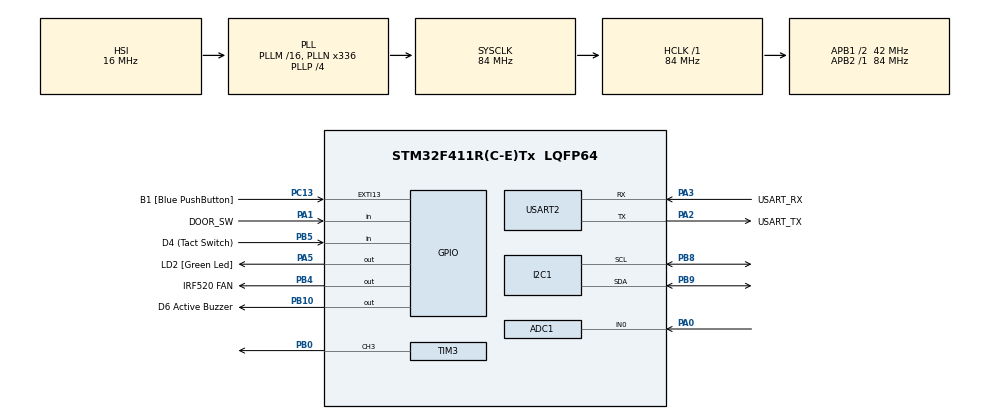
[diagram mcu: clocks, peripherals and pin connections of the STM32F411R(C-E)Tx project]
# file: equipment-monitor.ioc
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ADC1.Channel-2\#ChannelRegularConversion=ADC_CHANNEL_0
ADC1.NbrOfConversionFlag=1
ADC1.Rank-2\#ChannelRegularConversion=1
ADC1.SamplingTime-2\#ChannelRegularConversion=ADC_SAMPLETIME_3CYCLES
ADC1.master=1
FREERTOS.Tasks01=TaskWatchdog,48,256,StartTaskWatchdog,Default,NULL,Dynamic,NULL,NULL;TaskComm,40,512,StartTaskComm,Default,NULL,Dynamic,NULL,NULL;TaskButton,40,128,StartTaskButton,Default,NULL,Dynamic,NULL,NULL;TaskSensor,24,256,StartTaskSensor,Default,NULL,Dynamic,NULL,NULL;TaskActuator,24,256,StartTaskActuator,Default,NULL,Dynamic,NULL,NULL;TaskHeartbeat,8,128,StartTaskHeartbeat,Default,NULL,Dynamic,NULL,NULL
FREERTOS.configUSE_NEWLIB_REENTRANT=1
Mcu.Family=STM32F4
Mcu.Name=STM32F411R(C-E)Tx
Mcu.Package=LQFP64
NVIC.EXTI15_10_IRQn=true\:5\:0\:false\:false\:true\:true\:true\:true\:true
NVIC.PriorityGroup=NVIC_PRIORITYGROUP_4
NVIC.TIM1_TRG_COM_TIM11_IRQn=true\:15\:0\:false\:false\:true\:false\:false\:true\:true
NVIC.TimeBase=TIM1_TRG_COM_TIM11_IRQn
NVIC.TimeBaseIP=TIM11
NVIC.USART2_IRQn=true\:5\:0\:false\:false\:true\:true\:true\:true\:true
PA0-WKUP.Signal=ADCx_IN0
PA1.GPIO_Label=DOOR_SW
PA1.GPIO_PuPd=GPIO_PULLUP
PA1.Signal=GPIO_Input
PA13.GPIO_Label=TMS
PA13.Mode=Serial_Wire
PA13.Signal=SYS_JTMS-SWDIO
PA14.GPIO_Label=TCK
PA14.Mode=Serial_Wire
PA14.Signal=SYS_JTCK-SWCLK
PA2.GPIO_Label=USART_TX
PA2.Mode=Asynchronous
PA2.Signal=USART2_TX
PA3.GPIO_Label=USART_RX
PA3.Mode=Asynchronous
PA3.Signal=USART2_RX
PA5.GPIO_Label=LD2 [Green Led]
PA5.Signal=GPIO_Output
PB0.Signal=S_TIM3_CH3
PB10.GPIO_Label=D6 Active Buzzer
PB10.Signal=GPIO_Output
PB3.GPIO_Label=SWO
PB3.Signal=SYS_JTDO-SWO
PB4.GPIO_Label=IRF520 FAN
PB4.GPIO_PuPd=GPIO_NOPULL
PB4.Signal=GPIO_Output
PB5.GPIO_Label=D4 (Tact Switch)
PB5.GPIO_PuPd=GPIO_PULLUP
PB5.Signal=GPIO_Input
PB8.Mode=I2C
PB8.Signal=I2C1_SCL
PB9.Mode=I2C
PB9.Signal=I2C1_SDA
PC13-ANTI_TAMP.GPIO_Label=B1 [Blue PushButton]
PC13-ANTI_TAMP.GPIO_ModeDefaultEXTI=GPIO_MODE_IT_FALLING
PC13-ANTI_TAMP.Signal=GPXTI13
PC14-OSC32_IN.Mode=LSE-External-Oscillator
PC14-OSC32_IN.Signal=RCC_OSC32_IN
PC15-OSC32_OUT.Mode=LSE-External-Oscillator
PC15-OSC32_OUT.Signal=RCC_OSC32_OUT
PH0\ -\ OSC_IN.Mode=HSE-External-Clock-Source
PH0\ -\ OSC_IN.Signal=RCC_OSC_IN
PH1\ -\ OSC_OUT.Mode=HSE-External-Clock-Source
PH1\ -\ OSC_OUT.Signal=RCC_OSC_OUT
ProjectManager.HeapSize=0x200
ProjectManager.StackSize=0x400
ProjectManager.TargetToolchain=STM32CubeIDE
RCC.48MHZClocksFreq_Value=84000000
RCC.AHBFreq_Value=84000000
RCC.APB1CLKDivider=RCC_HCLK_DIV2
RCC.APB1Freq_Value=42000000
RCC.APB1TimFreq_Value=84000000
RCC.APB2Freq_Value=84000000
RCC.APB2TimFreq_Value=84000000
RCC.CortexFreq_Value=84000000
RCC.FLatency-AdvancedSettings=FLASH_LATENCY_2
RCC.HCLKFreq_Value=84000000
RCC.HSE_VALUE=8000000
RCC.HSI_VALUE=16000000
RCC.PLLN=336
RCC.PLLP=RCC_PLLP_DIV4
RCC.SYSCLKFreq_VALUE=84000000
RCC.SYSCLKSource=RCC_SYSCLKSOURCE_PLLCLK
RCC.VCOOutputFreq_Value=336000000
SH.ADCx_IN0.0=ADC1_IN0,IN0
SH.S_TIM3_CH3.0=TIM3_CH3,PWM Generation3 CH3
TIM3.Channel-PWM\ Generation3\ CH3=TIM_CHANNEL_3
TIM3.Period=999
TIM3.Prescaler=83
USART2.VirtualMode=VM_ASYNC
VP_FREERTOS_VS_CMSIS_V2.Mode=CMSIS_V2
VP_IWDG_VS_IWDG.Mode=IWDG_Activate
VP_SYS_VS_tim11.Mode=TIM11
VP_TIM3_VS_ClockSourceINT.Mode=Internal
board=NUCLEO-F411RE

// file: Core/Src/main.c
/* USER CODE BEGIN Header */
/**
  ******************************************************************************
  * @file           : main.c
  * @brief          : Main program body
  ******************************************************************************
  * @attention
  *
  * Copyright (c) 2026 STMicroelectronics.
  * All rights reserved.
  *
  * This software is licensed under terms that can be found in the LICENSE file
  * in the root directory of this software component.
  * If no LICENSE file comes with this software, it is provided AS-IS.
  *
  ******************************************************************************
  */
/* USER CODE END Header */
#include "main.h"
#include "cmsis_os.h"
#include "adc.h"
#include "i2c.h"
#include "iwdg.h"
#include "tim.h"
#include "usart.h"
#include "gpio.h"

/* USER CODE BEGIN Includes */
#include "test_periph.h"
/* USER CODE END Includes */

void SystemClock_Config(void);
void MX_FREERTOS_Init(void);

int main(void)
{

  /* MCU Configuration--------------------------------------------------------*/

  /* Reset of all peripherals, Initializes the Flash interface and the Systick. */
  HAL_Init();

  /* Configure the system clock */
  SystemClock_Config();

  /* USER CODE BEGIN SysInit */
  /* ITM 수동 초기화 — SWV 출력용 */
  CoreDebug->DEMCR |= CoreDebug_DEMCR_TRCENA_Msk;
  ITM->LAR  = 0xC5ACCE55UL;
  ITM->TCR  = 0x0001000DUL;
  ITM->TPR  = 0xFFFFFFFFUL;
  ITM->TER  = 0x00000001UL;
  /* ITM 동작 확인용 — 콘솔에 "BOOT\r\n" 이 보이면 SWV 정상 */
  const char *msg = "BOOT\r\n";
  for (int i = 0; msg[i]; i++) ITM_SendChar((uint32_t)msg[i]);
  /* USER CODE END SysInit */

  /* Initialize all configured peripherals */
  MX_GPIO_Init();
  MX_USART2_UART_Init();
  MX_IWDG_Init();
  MX_ADC1_Init();
  MX_I2C1_Init();
  MX_TIM3_Init();
  /* USER CODE BEGIN 2 */
#ifdef TEST_MODE
  test_periph_run();
  for (;;);   /* 테스트 완료 후 정지 — FreeRTOS 진입 안 함 */
#endif
  /* USER CODE END 2 */

  /* Init scheduler */
  osKernelInitialize();  /* Call init function for freertos objects (in cmsis_os2.c) */
  MX_FREERTOS_Init();

  /* Start scheduler */
  osKernelStart();

  /* We should never get here as control is now taken by the scheduler */

  /* Infinite loop */
  while (1)
  {

  }
}

void SystemClock_Config(void)
{
  RCC_OscInitTypeDef RCC_OscInitStruct = {0};
  RCC_ClkInitTypeDef RCC_ClkInitStruct = {0};

  /** Configure the main internal regulator output voltage
  */
  __HAL_RCC_PWR_CLK_ENABLE();
  __HAL_PWR_VOLTAGESCALING_CONFIG(PWR_REGULATOR_VOLTAGE_SCALE1);

  /** Initializes the RCC Oscillators according to the specified parameters
  * in the RCC_OscInitTypeDef structure.
  */
  RCC_OscInitStruct.OscillatorType = RCC_OSCILLATORTYPE_HSI|RCC_OSCILLATORTYPE_LSI;
  RCC_OscInitStruct.HSIState = RCC_HSI_ON;
  RCC_OscInitStruct.HSICalibrationValue = RCC_HSICALIBRATION_DEFAULT;
  RCC_OscInitStruct.LSIState = RCC_LSI_ON;
  RCC_OscInitStruct.PLL.PLLState = RCC_PLL_ON;
  RCC_OscInitStruct.PLL.PLLSource = RCC_PLLSOURCE_HSI;
  RCC_OscInitStruct.PLL.PLLM = 16;
  RCC_OscInitStruct.PLL.PLLN = 336;
  RCC_OscInitStruct.PLL.PLLP = RCC_PLLP_DIV4;
  RCC_OscInitStruct.PLL.PLLQ = 4;
  if (HAL_RCC_OscConfig(&RCC_OscInitStruct) != HAL_OK)
  {
    Error_Handler();
  }

  /** Initializes the CPU, AHB and APB buses clocks
  */
  RCC_ClkInitStruct.ClockType = RCC_CLOCKTYPE_HCLK|RCC_CLOCKTYPE_SYSCLK
                              |RCC_CLOCKTYPE_PCLK1|RCC_CLOCKTYPE_PCLK2;
  RCC_ClkInitStruct.SYSCLKSource = RCC_SYSCLKSOURCE_PLLCLK;
  RCC_ClkInitStruct.AHBCLKDivider = RCC_SYSCLK_DIV1;
  RCC_ClkInitStruct.APB1CLKDivider = RCC_HCLK_DIV2;
  RCC_ClkInitStruct.APB2CLKDivider = RCC_HCLK_DIV1;

  if (HAL_RCC_ClockConfig(&RCC_ClkInitStruct, FLASH_LATENCY_2) != HAL_OK)
  {
    Error_Handler();
  }
}

void HAL_TIM_PeriodElapsedCallback(TIM_HandleTypeDef *htim)
{
  if (htim->Instance == TIM11)
  {
    HAL_IncTick();
  }
}

void Error_Handler(void)
{
  __disable_irq();
  while (1)
  {
  }
}

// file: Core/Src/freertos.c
/* USER CODE BEGIN Header */
/**
  ******************************************************************************
  * File Name          : freertos.c
  * Description        : FreeRTOS 태스크 및 동기화 객체 구현
  ******************************************************************************
  */
/* USER CODE END Header */

#include "FreeRTOS.h"
#include "task.h"
#include "main.h"
#include "cmsis_os.h"

/* USER CODE BEGIN Includes */
#include "config.h"
#include "protocol.h"
#include "uart_comm.h"
#include "watchdog_mgr.h"
#include "gpio.h"
#include "stm32f4xx.h"
#include "i2c.h"
#include "sht31.h"
#include "ina219.h"
#include "tim.h"
#include <string.h>

static void dbg(const char *s) {
    while (*s) ITM_SendChar((uint32_t)*s++);
}
/* USER CODE END Includes */

/* USER CODE BEGIN Variables */

/* TX 프레임 큐: TaskSensor/Button/Heartbeat → TaskComm */
static osMessageQueueId_t xQueueTxFrame;

/* RX 명령 큐: TaskComm → TaskActuator */
static osMessageQueueId_t xQueueRxCmd;

/* 버튼 이벤트 큐: TaskButton → TaskComm */
static osMessageQueueId_t xQueueButtonEvent;

/* 공유 센서 버퍼 보호 Mutex */
static osMutexId_t xMutexSensorBuf;

/* 공유 센서 버퍼 (더미값 — 실제 센서 연결 후 교체) */
static SensorDataPayload_t g_sensorBuf;

/* USER CODE END Variables */
/* Definitions for TaskWatchdog */
osThreadId_t TaskWatchdogHandle;
const osThreadAttr_t TaskWatchdog_attributes = {
  .name = "TaskWatchdog",
  .stack_size = 256 * 4,
  .priority = (osPriority_t) osPriorityRealtime,
};
/* Definitions for TaskComm */
osThreadId_t TaskCommHandle;
const osThreadAttr_t TaskComm_attributes = {
  .name = "TaskComm",
  .stack_size = 512 * 4,
  .priority = (osPriority_t) osPriorityHigh,
};
/* Definitions for TaskButton */
osThreadId_t TaskButtonHandle;
const osThreadAttr_t TaskButton_attributes = {
  .name = "TaskButton",
  .stack_size = 128 * 4,
  .priority = (osPriority_t) osPriorityHigh,
};
/* Definitions for TaskSensor */
osThreadId_t TaskSensorHandle;
const osThreadAttr_t TaskSensor_attributes = {
  .name = "TaskSensor",
  .stack_size = 256 * 4,
  .priority = (osPriority_t) osPriorityNormal,
};
/* Definitions for TaskActuator */
osThreadId_t TaskActuatorHandle;
const osThreadAttr_t TaskActuator_attributes = {
  .name = "TaskActuator",
  .stack_size = 256 * 4,
  .priority = (osPriority_t) osPriorityNormal,
};
/* Definitions for TaskHeartbeat */
osThreadId_t TaskHeartbeatHandle;
const osThreadAttr_t TaskHeartbeat_attributes = {
  .name = "TaskHeartbeat",
  .stack_size = 128 * 4,
  .priority = (osPriority_t) osPriorityLow,
};

void StartTaskWatchdog(void *argument);
void StartTaskComm(void *argument);
void StartTaskButton(void *argument);
void StartTaskSensor(void *argument);
void StartTaskActuator(void *argument);
void StartTaskHeartbeat(void *argument);

void MX_FREERTOS_Init(void); /* (MISRA C 2004 rule 8.1) */

void MX_FREERTOS_Init(void) {
  /* USER CODE BEGIN Init */

  /* 큐 생성 */
  xQueueTxFrame    = osMessageQueueNew(CFG_QUEUE_TX_SIZE,
                                       sizeof(TxRequest_t), NULL);
  xQueueRxCmd      = osMessageQueueNew(CFG_QUEUE_RX_CMD_SIZE,
                                       sizeof(ParsedFrame_t), NULL);
  xQueueButtonEvent = osMessageQueueNew(CFG_QUEUE_BUTTON_SIZE,
                                        sizeof(ButtonEventPayload_t), NULL);
  xMutexSensorBuf  = osMutexNew(NULL);

  /* Task Watchdog에 TX 큐 전달 (RESTART_REASON 보고용) */
  watchdog_set_tx_queue(xQueueTxFrame);

  /* USER CODE END Init */

  /* Create the thread(s) */
  /* creation of TaskWatchdog */
  TaskWatchdogHandle = osThreadNew(StartTaskWatchdog, NULL, &TaskWatchdog_attributes);

  /* creation of TaskComm */
  TaskCommHandle = osThreadNew(StartTaskComm, NULL, &TaskComm_attributes);

  /* creation of TaskButton */
  TaskButtonHandle = osThreadNew(StartTaskButton, NULL, &TaskButton_attributes);

  /* creation of TaskSensor */
  TaskSensorHandle = osThreadNew(StartTaskSensor, NULL, &TaskSensor_attributes);

  /* creation of TaskActuator */
  TaskActuatorHandle = osThreadNew(StartTaskActuator, NULL, &TaskActuator_attributes);

  /* creation of TaskHeartbeat */
  TaskHeartbeatHandle = osThreadNew(StartTaskHeartbeat, NULL, &TaskHeartbeat_attributes);

  /* USER CODE BEGIN RTOS_THREADS */
  /* Task Watchdog 등록 (FR-022) */
  watchdog_register(TASK_ID_SENSOR,    TaskSensorHandle,
                    StartTaskSensor,    CFG_WD_TIMEOUT_SENSOR_MS);
  watchdog_register(TASK_ID_COMM,      TaskCommHandle,
                    StartTaskComm,      CFG_WD_TIMEOUT_COMM_MS);
  watchdog_register(TASK_ID_BUTTON,    TaskButtonHandle,
                    StartTaskButton,    CFG_WD_TIMEOUT_BUTTON_MS);
  watchdog_register(TASK_ID_ACTUATOR,  TaskActuatorHandle,
                    StartTaskActuator,  CFG_WD_TIMEOUT_ACTUATOR_MS);
  watchdog_register(TASK_ID_HEARTBEAT, TaskHeartbeatHandle,
                    StartTaskHeartbeat, CFG_WD_TIMEOUT_HB_MS);
  /* USER CODE END RTOS_THREADS */

}

void StartTaskWatchdog(void *argument)
{
  /* USER CODE BEGIN StartTaskWatchdog */
  watchdog_iwdg_init();
  for(;;)
  {
    watchdog_monitor();
    osDelay(CFG_WATCHDOG_POLL_MS);
  }
  /* USER CODE END StartTaskWatchdog */
}

void StartTaskComm(void *argument)
{
  /* USER CODE BEGIN StartTaskComm */
  uart_rx_start();
  watchdog_checkin(TASK_ID_COMM);

  static uint8_t txSeq = 0U;
  osMessageQueueId_t rxByteQ = uart_get_rx_queue();

  for(;;)
  {
    watchdog_checkin(TASK_ID_COMM);

    /* ── RX: 바이트 꺼내 파서 투입 ── */
    uint8_t byte;
    while (osMessageQueueGet(rxByteQ, &byte, NULL, 0U) == osOK) {
      ParsedFrame_t frame;
      bool crcOk = frame_parser_feed(byte, &frame);
      if (crcOk) {
        dbg("[COMM] frame rx\r\n");

        /* ACK 전송 */
        AckPayload_t ack = { .ack_seq = frame.seq };
        uint8_t txBuf[PROTO_MAX_FRAME];
        uint16_t len = frame_build(MSG_ACK, txSeq++,
                                   (uint8_t *)&ack, sizeof(ack), txBuf);
        uart_transmit_raw(txBuf, len);

        /* 명령 프레임 → RxCmd 큐 */
        if (frame.type == MSG_CMD_FAN    ||
            frame.type == MSG_CMD_BUZZER ||
            frame.type == MSG_CMD_LED    ||
            frame.type == MSG_CMD_STATE_SYNC) {
          dbg("[COMM] cmd queued\r\n");
          osMessageQueuePut(xQueueRxCmd, &frame, 0U, 0U);
        }
        /* Heartbeat REQ → ACK 응답 */
        if (frame.type == MSG_HEARTBEAT_REQ) {
          uint8_t hbBuf[PROTO_MAX_FRAME];
          uint16_t hbLen = frame_build(MSG_HEARTBEAT_ACK, txSeq++,
                                       NULL, 0U, hbBuf);
          uart_transmit_raw(hbBuf, hbLen);
        }
      }
    }

    /* ── TX: 큐에서 요청 꺼내 전송 + ACK 대기/재전송 ── */
    TxRequest_t req;
    if (osMessageQueueGet(xQueueTxFrame, &req, NULL, 0U) == osOK) {
      dbg("[COMM] tx start\r\n");
      uint8_t  txBuf[PROTO_MAX_FRAME];
      uint16_t len;
      uint8_t  retries = 0U;
      uint8_t  acked   = 0U;
      uint32_t deadline;

      len = frame_build(req.type, txSeq,
                        req.payload, req.payloadLen, txBuf);

      while (retries < CFG_MAX_RETRANSMIT && acked == 0U) {
        uart_transmit_raw(txBuf, len);
        deadline = osKernelGetTickCount() + CFG_TX_TIMEOUT_MS;
        while (osKernelGetTickCount() < deadline) {
          uint8_t b;
          if (osMessageQueueGet(rxByteQ, &b, NULL, 10U) == osOK) {
            ParsedFrame_t ackFrame;
            if (frame_parser_feed(b, &ackFrame)) {
              if (ackFrame.type == MSG_ACK &&
                  ackFrame.payload[0] == txSeq) {
                acked = 1U;
                break;
              }
              /* CMD 프레임이 도착하면 ACK 전송 + 큐에 전달 */
              if (ackFrame.type == MSG_CMD_FAN    ||
                  ackFrame.type == MSG_CMD_BUZZER ||
                  ackFrame.type == MSG_CMD_LED    ||
                  ackFrame.type == MSG_CMD_STATE_SYNC) {
                AckPayload_t ack2 = { .ack_seq = ackFrame.seq };
                uint8_t ackBuf[PROTO_MAX_FRAME];
                uint16_t ackLen = frame_build(MSG_ACK, txSeq,
                                              (uint8_t *)&ack2, sizeof(ack2), ackBuf);
                uart_transmit_raw(ackBuf, ackLen);
                osMessageQueuePut(xQueueRxCmd, &ackFrame, 0U, 0U);
              }
            }
          }
        }
        retries++;
      }
      txSeq++;
    }

    osDelay(1U);
  }
  /* USER CODE END StartTaskComm */
}

void StartTaskButton(void *argument)
{
  /* USER CODE BEGIN StartTaskButton */
  watchdog_checkin(TASK_ID_BUTTON);
  for(;;)
  {
    ButtonEventPayload_t evt;
    watchdog_checkin(TASK_ID_BUTTON);
    if (osMessageQueueGet(xQueueButtonEvent, &evt, NULL, 100U) == osOK) {
      TxRequest_t req;
      req.type       = MSG_BUTTON_EVENT;
      req.payloadLen = (uint16_t)sizeof(evt);
      memcpy(req.payload, &evt, sizeof(evt));
      osMessageQueuePut(xQueueTxFrame, &req, 0U, 0U);
    }
  }
  /* USER CODE END StartTaskButton */
}

void StartTaskSensor(void *argument)
{
  /* USER CODE BEGIN StartTaskSensor */
  INA219_Init();
  watchdog_checkin(TASK_ID_SENSOR);
  for(;;)
  {
    TxRequest_t req;
    SensorDataPayload_t data;

    watchdog_checkin(TASK_ID_SENSOR);

    /* 도어 스위치 읽기 (PA1, NO 접점 + Pull-Up, 페일세이프)
     * HIGH(SET) = 도어 열림 또는 배선 단선 → door_open=1
     * LOW(RESET) = 도어 닫힘 → door_open=0
     */
    uint8_t door_open = (HAL_GPIO_ReadPin(DOOR_SW_GPIO_Port, DOOR_SW_Pin)
                         == GPIO_PIN_SET) ? 1U : 0U;

    /* SHT31 온습도 측정 */
    SHT31_Data sht;
    if (SHT31_Read(&sht) == SHT31_OK) {
      data.flags       = 0x01U | (door_open << 2U);  /* bit0=sht31_valid, bit2=door_open */
      data.sht31_error = SENSOR_ERR_NONE;
      data.temperature = sht.temperature;
      data.humidity    = sht.humidity;
    } else {
      data.flags       = 0x00U | (door_open << 2U);  /* bit2=door_open */
      data.sht31_error = SENSOR_ERR_I2C_NACK;
      data.temperature = 0.0f;
      data.humidity    = 0.0f;
    }

    /* INA219 전류/전압 측정 */
    INA219_Data ina;
    if (INA219_Read(&ina) == INA219_OK) {
      data.flags      |= 0x02U;              /* bit1=ina219_valid */
      data.ina219_error = SENSOR_ERR_NONE;
      data.current_mA   = ina.current_mA;
      data.voltage_V    = ina.voltage_V;
    } else {
      data.ina219_error = SENSOR_ERR_I2C_NACK;
      data.current_mA   = 0.0f;
      data.voltage_V    = 0.0f;
    }
    data.timestamp_ms = osKernelGetTickCount();

    /* 공유 버퍼 갱신 */
    if (osMutexAcquire(xMutexSensorBuf, 10U) == osOK) {
      g_sensorBuf = data;
      osMutexRelease(xMutexSensorBuf);
    }

    /* TX 큐에 삽입 */
    req.type       = MSG_SENSOR_DATA;
    req.payloadLen = (uint16_t)sizeof(data);
    memcpy(req.payload, &data, sizeof(data));
    osMessageQueuePut(xQueueTxFrame, &req, 0U, 0U);

    osDelay(CFG_SENSOR_PERIOD_MS);
  }
  /* USER CODE END StartTaskSensor */
}

void StartTaskActuator(void *argument)
{
  /* USER CODE BEGIN StartTaskActuator */
  watchdog_checkin(TASK_ID_ACTUATOR);
  for(;;)
  {
    ParsedFrame_t frame;
    watchdog_checkin(TASK_ID_ACTUATOR);
    if (osMessageQueueGet(xQueueRxCmd, &frame, NULL, 100U) == osOK) {
      switch (frame.type) {

      case MSG_CMD_HEATER: {
        CmdHeaterPayload_t *p = (CmdHeaterPayload_t *)frame.payload;
        if (p->duty_percent == 0U) {
          HAL_TIM_PWM_Stop(&htim3, TIM_CHANNEL_3);
        } else {
          uint32_t ccr = (uint32_t)p->duty_percent * 1000U / 100U;
          __HAL_TIM_SET_COMPARE(&htim3, TIM_CHANNEL_3, ccr);
          HAL_TIM_PWM_Start(&htim3, TIM_CHANNEL_3);
        }
        break;
      }

      case MSG_CMD_FAN: {
        CmdFanPayload_t *p = (CmdFanPayload_t *)frame.payload;
        HAL_GPIO_WritePin(IRF520_FAN_GPIO_Port, IRF520_FAN_Pin,
                          p->on ? GPIO_PIN_SET : GPIO_PIN_RESET);
        break;
      }

      case MSG_CMD_BUZZER: {
        CmdBuzzerPayload_t *p = (CmdBuzzerPayload_t *)frame.payload;
        HAL_GPIO_WritePin(D6_Active_Buzzer_GPIO_Port, D6_Active_Buzzer_Pin,
                          p->on ? GPIO_PIN_SET : GPIO_PIN_RESET);
        break;
      }

      case MSG_CMD_LED: {
        CmdLedPayload_t *p = (CmdLedPayload_t *)frame.payload;
        HAL_GPIO_WritePin(LD2_GPIO_Port, LD2_Pin,
                          p->state ? GPIO_PIN_SET : GPIO_PIN_RESET);
        break;
      }

      default:
        break;
      }
    }
  }
  /* USER CODE END StartTaskActuator */
}

void StartTaskHeartbeat(void *argument)
{
  /* USER CODE BEGIN StartTaskHeartbeat */
  watchdog_checkin(TASK_ID_HEARTBEAT);
  for(;;)
  {
    TxRequest_t req;
    watchdog_checkin(TASK_ID_HEARTBEAT);
    dbg("[HB] tick\r\n");
    req.type       = MSG_HEARTBEAT_REQ;
    req.payloadLen = 0U;
    osMessageQueuePut(xQueueTxFrame, &req, 0U, 0U);
    osDelay(CFG_HEARTBEAT_PERIOD_MS);
  }
  /* USER CODE END StartTaskHeartbeat */
}

/* USER CODE BEGIN Application */

/* 버튼 ISR(HAL_GPIO_EXTI_Callback)에서 호출 — xQueueButtonEvent에 삽입 */
void gpio_button_event_from_isr(uint8_t buttonId)
{
  ButtonEventPayload_t evt;
  evt.button_id = buttonId;
  osMessageQueuePut(xQueueButtonEvent, &evt, 0U, 0U);
}

/* USER CODE END Application */
